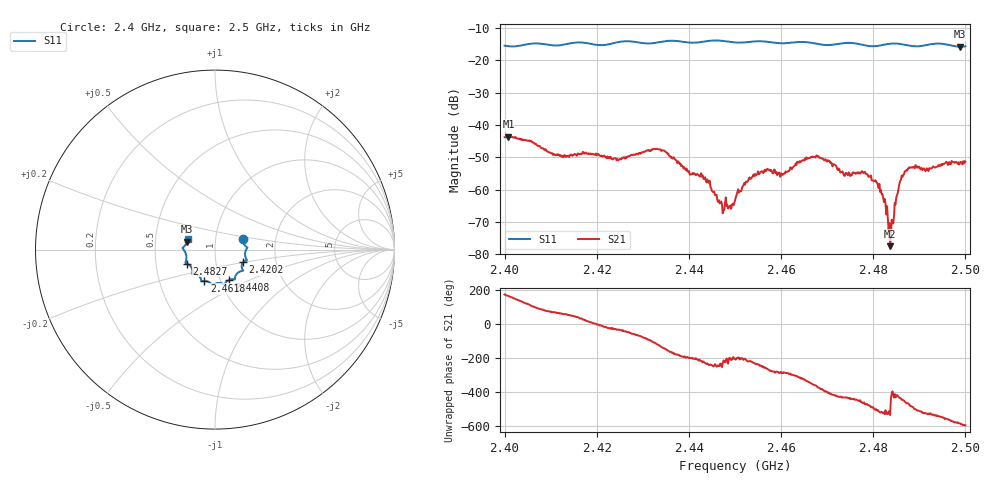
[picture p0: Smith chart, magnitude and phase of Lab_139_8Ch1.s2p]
# Hz S RI R 50
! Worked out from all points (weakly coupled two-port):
!   601 points, 2.4 GHz to 2.5 GHz, reference 50 ohm
!   highest |S21| = -43.61 dB at 2.4008 GHz (marker M1); lowest = -77.5 dB at 2.4837 GHz (marker M2)
!   lowest |S11| = -15.9 dB at 2.4988 GHz (marker M3), VSWR 1.38, Z = 36.5 + j3.34 ohm
!   |S11| at or under -10 dB: start of sweep to end of sweep
!   S12 and S22 are empty: the file has one direction only
!   S11 on the Smith chart (normalised r, x): 2.4 GHz: 1.36, +0.17; 2.4202 GHz: 1.35, -0.20; 2.4408 GHz: 1.10, -0.38; 2.4618 GHz: 0.84, -0.30; 2.4827 GHz: 0.72, -0.12; 2.5 GHz: 0.73, +0.09
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2.4e9  0.1557 0.0618  -0.00642 0.000466  0 0  0 0
2.400833e9  0.1559 0.052  -0.00644 0.00145  0 0  0 0
2.410833e9  0.168 -0.0154  0.00118 0.00328  0 0  0 0
2.416667e9  0.178 -0.0594  0.00286 0.00201  0 0  0 0
2.420167e9  0.1566 -0.0703  0.0035 -0.000115  0 0  0 0
2.433333e9  0.1119 -0.1521  -0.00223 -0.00358  0 0  0 0
2.440833e9  0.0789 -0.1688  -0.00166 0.000708  0 0  0 0
2.444e9  0.0559 -0.189  -0.000896 0.00112  0 0  0 0
2.447167e9  0.0484 -0.1932  -0.000174 0.000568  0 0  0 0
2.45e9  0.028 -0.1859  -0.000619 0.00027  0 0  0 0
2.4545e9  -0.00953 -0.1953  -0.000931 0.00136  0 0  0 0
2.461833e9  -0.06 -0.1753  0.000813 0.00182  0 0  0 0
2.466667e9  -0.0769 -0.1685  0.00314 0.000505  0 0  0 0
2.478333e9  -0.1264 -0.1115  -0.000656 -0.00165  0 0  0 0
2.480833e9  -0.1415 -0.0866  -0.00108 -0.000665  0 0  0 0
2.482667e9  -0.157 -0.0778  -0.000515 -0.000321  0 0  0 0
2.483333e9  -0.1611 -0.0764  -0.000213 -9.63e-05  0 0  0 0
2.483667e9  -0.1627 -0.0758  -0.000133 -9.16e-06  0 0  0 0
2.485667e9  -0.1644 -0.0704  0.000335 -0.00117  0 0  0 0
2.487333e9  -0.1607 -0.0574  -0.00054 -0.00188  0 0  0 0
2.498833e9  -0.1548 0.0446  -0.00182 0.00186  0 0  0 0
2.5e9  -0.1517 0.0615  -0.00148 0.00227  0 0  0 0
